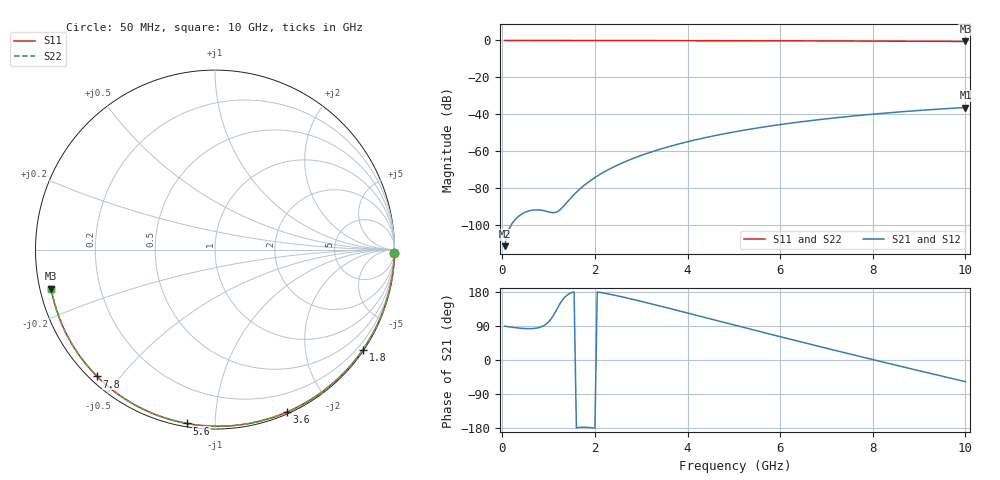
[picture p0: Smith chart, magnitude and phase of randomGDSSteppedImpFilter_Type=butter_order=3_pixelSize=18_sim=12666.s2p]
! freq	dB(S11)	phase(S11)	dB(S12)	phase(S12)
!  dB(S21)	phase(S21)	dB(S22)	phase(S22)
!S-par simulation data
#  GHz  S  DB  R 50
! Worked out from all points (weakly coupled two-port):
!   200 points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, 50 MHz to 10 GHz, reference 50 ohm
!   highest |S21| = -36.36 dB at 10 GHz (marker M1); lowest = -111.6 dB at 50 MHz (marker M2)
!   lowest |S11| = -0.6 dB at 10 GHz (marker M3), VSWR 31.44, Z = 1.61 - j5.89 ohm
!   |S11| at or under -10 dB: nowhere
!   |S22| runs from -0.6 to 0.0 dB; largest |S21 - S12| = 0
!   S11 on the Smith chart (normalised r, x): 50 MHz: open; 1.8 GHz: 0.03, -3.26; 3.6 GHz: 0.02, -1.53; 5.6 GHz: 0.02, -0.85; 7.8 GHz: 0.02, -0.44; 10 GHz: 0.03, -0.12
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0.05  -0.00 -1.0  -111.56 89.1  -111.56 89.1  -0.00 -1.0
0.45  -0.01 -8.7  -93.71 83.2  -93.71 83.2  -0.01 -8.7
0.85  -0.02 -16.3  -92.07 87.9  -92.07 87.9  -0.02 -16.3
1.7  -0.04 -32.2  -79.99 -177.4  -79.99 -177.4  -0.04 -32.2
1.75  -0.04 -33.2  -78.93 -177.3  -78.93 -177.3  -0.04 -33.2
1.8  -0.04 -34.1  -77.92 -177.4  -77.92 -177.4  -0.04 -34.1
1.95  -0.05 -36.8  -75.18 -178.9  -75.18 -178.9  -0.05 -36.8
2.1  -0.05 -39.6  -72.76 178.5  -72.76 178.5  -0.05 -39.6
2.3  -0.06 -43.2  -69.94 174.1  -69.94 174.1  -0.06 -43.2
2.5  -0.06 -46.9  -67.46 169.0  -67.46 169.0  -0.06 -46.9
2.9  -0.07 -54.0  -63.26 157.7  -63.26 157.7  -0.07 -54.0
3.4  -0.08 -62.8  -59.02 142.6  -59.02 142.6  -0.08 -62.8
3.6  -0.09 -66.3  -57.55 136.4  -57.55 136.4  -0.09 -66.3
4.3  -0.11 -78.1  -53.16 114.6  -53.16 114.6  -0.11 -78.1
5.05  -0.14 -90.4  -49.40 91.1  -49.40 91.1  -0.14 -90.4
5.6  -0.16 -99.2  -47.10 73.9  -47.10 73.9  -0.16 -99.2
6.15  -0.19 -107.8  -45.11 56.9  -45.11 56.9  -0.19 -107.8
6.7  -0.23 -116.3  -43.35 40.1  -43.35 40.1  -0.23 -116.3
7.8  -0.31 -132.9  -40.43 7.0  -40.43 7.0  -0.31 -132.9
8.35  -0.36 -141.2  -39.22 -9.3  -39.22 -9.3  -0.36 -141.2
9.2  -0.45 -154.1  -37.60 -34.1  -37.60 -34.1  -0.45 -154.1
10  -0.55 -166.6  -36.36 -57.2  -36.36 -57.2  -0.55 -166.5
